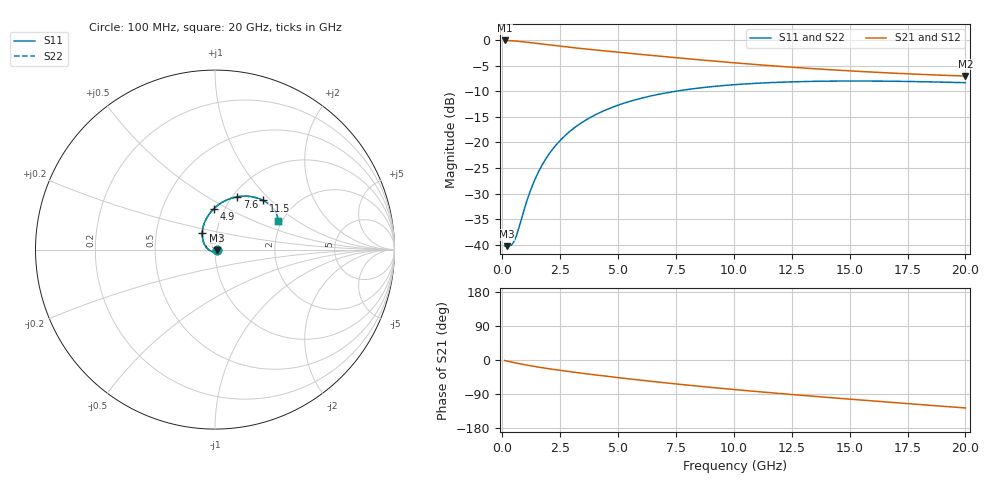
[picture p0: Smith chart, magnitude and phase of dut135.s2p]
! Touchstone file exported from HFSS 2023.1.0
!  File:  D:/Users/fzz/RDL_TSV/temp_RDL_TSV_135_1778751746.aedt
!  Generated:  5:56:07 %x4E0B%x5348  5%x6708 14, 2026
!  Design:  RDL_TSV
!  Project:  temp_RDL_TSV_135_1778751746
!  Setup:  Setup1
!  Solution:  Sweep
! Variables:
!  dtsv = 15.28um
!  hbump = 3um
!  htsv = 62.37um
!  ldown = 199.42um
!  lrdl = 231.04um
!  p = 40
!  p1 = 59.84um
!  rhole = 10um
!  subl = 1522.42um
!  t = 450um
!  tdown = 4.09um
!  trdl = 4.05um
!  viad = 10um
!  wdown = 12.63um
!  wrdl = 15.22um
!  xbump = 18um
# GHz S MA R 50.000000
! Terminal data exported
! Port[1] = TM1_1_T1
! Port[2] = TM1_4_T1
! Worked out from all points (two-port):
!   200 points, 100 MHz to 20 GHz, reference 50 ohm
!   highest |S21| = -0.09 dB at 100 MHz (marker M1); lowest = -7.0 dB at 20 GHz (marker M2)
!   |S21| within 3 dB of the highest: start of sweep to 6.635 GHz
!   lowest |S11| = -40.3 dB at 200 MHz (marker M3), VSWR 1.02, Z = 50.8 - j0.496 ohm
!   |S11| at or under -10 dB: start of sweep to 7.499 GHz
!   |S22| runs from -40.3 to -8.0 dB; largest |S21 - S12| = 1.6e-14
!   S11 on the Smith chart (normalised r, x): 100 MHz: 1.02, -0.00; 2.7 GHz: 0.85, +0.16; 4.9 GHz: 0.89, +0.43; 7.6 GHz: 1.05, +0.69; 11.5 GHz: 1.40, +0.90; 20 GHz: 1.90, +0.70
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0.1  0.009761 -14.6  0.9897 -1.4  0.9897 -1.4  0.009761 -14.6
! Gamma 0 0 0 0
! Port Impedance 50 0 50 0
0.2  0.009712 -30.2  0.9883 -2.7  0.9883 -2.7  0.009711 -30.2
0.4  0.009975 -66.7  0.9831 -5.4  0.9831 -5.4  0.009972 -66.7
0.5  0.01071 -86.8  0.9796 -6.7  0.9796 -6.7  0.01071 -86.8
0.6  0.01212 -106.0  0.9755 -8.0  0.9755 -8.0  0.01212 -106.0
1  0.02429 -159.4  0.9553 -12.8  0.9553 -12.8  0.02429 -159.4
1.2  0.0331 -175.2  0.9436 -15.0  0.9436 -15.0  0.03311 -175.3
1.4  0.04297 172.6  0.9316 -17.1  0.9316 -17.1  0.04299 172.6
1.6  0.05356 162.7  0.9195 -19.2  0.9195 -19.2  0.05359 162.7
2.1  0.08166 143.9  0.8904 -23.8  0.8904 -23.8  0.08169 143.9
2.7  0.116 127.7  0.8587 -29.0  0.8587 -29.0  0.116 127.7
3.5  0.1597 111.7  0.8213 -35.4  0.8213 -35.4  0.1598 111.7
4.2  0.1949 100.9  0.7916 -40.7  0.7916 -40.7  0.195 100.9
4.9  0.2268 91.9  0.7639 -45.8  0.7639 -45.8  0.2269 91.9
5.8  0.2628 82.3  0.7302 -52.1  0.7302 -52.1  0.2629 82.3
6.8  0.2964 73.3  0.695 -58.7  0.695 -58.7  0.2965 73.3
7.6  0.3188 67.2  0.6686 -63.8  0.6686 -63.8  0.3189 67.2
10.1  0.3673 52.2  0.5967 -78.4  0.5967 -78.4  0.3674 52.2
11.5  0.383 45.7  0.5634 -86.0  0.5634 -86.0  0.3831 45.7
13.4  0.3946 38.6  0.5255 -95.6  0.5255 -95.6  0.3947 38.6
16.7  0.3961 29.7  0.4768 -111.3  0.4768 -111.3  0.3962 29.7
20  0.383 24.3  0.4444 -126.6  0.4444 -126.6  0.3831 24.4
